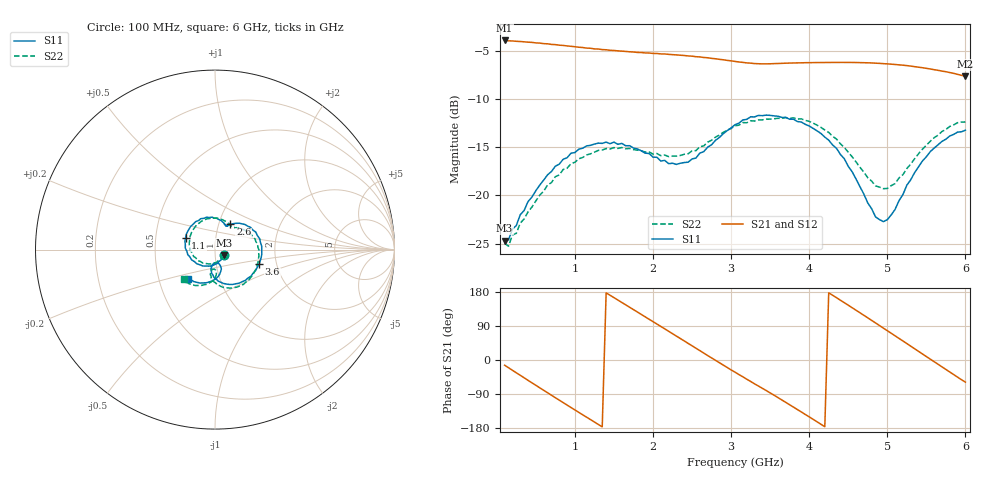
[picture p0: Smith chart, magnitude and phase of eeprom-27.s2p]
! Created with skrf 2.0.0 (http://scikit-rf.org).
# Hz S RI R 50.0
!freq ReS11 ImS11 ReS21 ImS21 ReS12 ImS12 ReS22 ImS22
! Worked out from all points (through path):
!   119 points, 100 MHz to 6 GHz, reference 50 ohm
!   highest |S21| = -3.86 dB at 100 MHz (marker M1); lowest = -7.6 dB at 6 GHz (marker M2)
!   group delay of S21, straight-line fit = 356 ps
!   lowest |S11| = -24.7 dB at 100 MHz (marker M3), VSWR 1.12, Z = 55.1 - j3.38 ohm
!   |S11| at or under -10 dB: start of sweep to end of sweep
!   |S22| runs from -25.3 to -11.9 dB; largest |S21 - S12| = 0.00096
!   S11 on the Smith chart (normalised r, x): 100 MHz: 1.10, -0.07; 1.1 GHz: 0.71, +0.09; 2.6 GHz: 1.14, +0.33; 3.6 GHz: 1.62, -0.29; 6 GHz: 0.71, -0.24
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1e8  0.0494 -0.0305  0.6227 -0.1517  0.6223 -0.1514  0.0485 -0.0286
3.5e8  -0.00269 -0.0835  0.4302 -0.461  0.4299 -0.4612  -0.00502 -0.0753
6e8  -0.0861 -0.084  0.1085 -0.6073  0.1082 -0.6071  -0.0821 -0.0657
8.5e8  -0.1517 -0.0281  -0.231 -0.558  -0.2312 -0.5576  -0.1364 -0.00669
1.1e9  -0.1643 0.0638  -0.48 -0.3413  -0.4802 -0.3407  -0.137 0.0781
1.3e9  -0.1345 0.1303  -0.5698 -0.0993  -0.5696 -0.0989  -0.103 0.1372
1.55e9  -0.0611 0.1743  -0.5257 0.2093  -0.5252 0.2094  -0.03 0.1732
1.85e9  0.0164 0.1701  -0.2798 0.4792  -0.2799 0.4791  0.0433 0.1653
2.1e9  0.0515 0.1421  0.014 0.5453  0.0137 0.5453  0.0821 0.1387
2.35e9  0.0666 0.1313  0.295 0.4486  0.2954 0.4481  0.1041 0.1236
2.6e9  0.0863 0.142  0.4778 0.2205  0.4777 0.2202  0.1338 0.1197
3.05e9  0.1977 0.1242  0.4225 -0.2645  0.422 -0.2647  0.2227 0.06
3.3e9  0.253 0.0407  0.2216 -0.4324  0.2216 -0.432  0.2434 -0.017
3.6e9  0.2451 -0.0822  -0.0774 -0.48  -0.0772 -0.4801  0.2263 -0.1112
4.05e9  0.1173 -0.1901  -0.4508 -0.1957  -0.451 -0.195  0.1094 -0.2113
4.25e9  0.0464 -0.1884  -0.4918 0.0224  -0.4915 0.0227  0.0409 -0.2089
4.5e9  -0.0119 -0.1413  -0.4016 0.2851  -0.4011 0.2856  -0.0135 -0.1673
4.85e9  -0.0079 -0.0769  -0.0658 0.4837  -0.066 0.4836  -0.0166 -0.111
5.05e9  0.0199 -0.0767  0.1604 0.4549  0.1605 0.4549  0.0019 -0.1125
5.5e9  0.00835 -0.1588  0.4532 0.0729  0.4529 0.0729  -0.0227 -0.1811
5.75e9  -0.0645 -0.1855  0.3998 -0.1855  0.3998 -0.1853  -0.0933 -0.2
6e9  -0.1479 -0.1611  0.2181 -0.3553  0.2177 -0.3552  -0.1749 -0.1663
